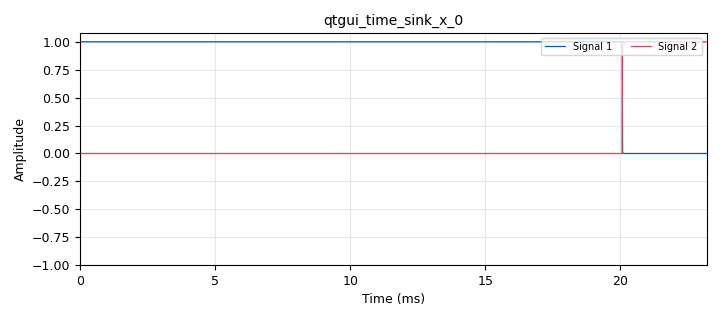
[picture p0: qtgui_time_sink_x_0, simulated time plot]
options:
  parameters:
    author: supernode
    generate_options: qt_gui
    id: addsignal
    output_language: python
    title: Adds
  states: {}

blocks:
- name: samp_rate
  id: variable
  parameters:
    value: '44100'
  states: {}
- name: analog_sig_source_x_0
  id: analog_sig_source_x
  parameters:
    amp: '1'
    freq: '22.7273'
    offset: '0'
    phase: '0'
    samp_rate: samp_rate
    type: float
    waveform: analog.GR_SQR_WAVE
  states: {}
- name: blocks_and_const_xx_0
  id: blocks_and_const_xx
  parameters:
    const: '1'
    type: byte
  states: {}
- name: blocks_char_to_float_0
  id: blocks_char_to_float
  parameters:
    scale: '1'
  states: {}
- name: blocks_float_to_char_0
  id: blocks_float_to_char
  parameters:
    scale: '1'
  states: {}
- name: blocks_not_xx_0
  id: blocks_not_xx
  parameters:
    type: byte
  states: {}
- name: blocks_null_sink_0
  id: blocks_null_sink
  parameters:
    type: byte
  states: {}
- name: blocks_null_source_0
  id: blocks_null_source
  parameters:
    type: byte
  states: {}
- name: blocks_throttle_0
  id: blocks_throttle
  parameters:
    samples_per_second: samp_rate
    type: byte
  states: {}
- name: qtgui_time_sink_x_0
  id: qtgui_time_sink_x
  parameters:
    nconnections: '2'
    size: '1024'
    srate: samp_rate
    type: float
  states: {}

connections:
- [analog_sig_source_x_0, '0', blocks_float_to_char_0, '0']
- [analog_sig_source_x_0, '0', qtgui_time_sink_x_0, '0']
- [blocks_and_const_xx_0, '0', blocks_char_to_float_0, '0']
- [blocks_char_to_float_0, '0', qtgui_time_sink_x_0, '1']
- [blocks_float_to_char_0, '0', blocks_not_xx_0, '0']
- [blocks_not_xx_0, '0', blocks_and_const_xx_0, '0']
- [blocks_null_source_0, '0', blocks_throttle_0, '0']
- [blocks_throttle_0, '0', blocks_null_sink_0, '0']

metadata:
  file_format: 1
